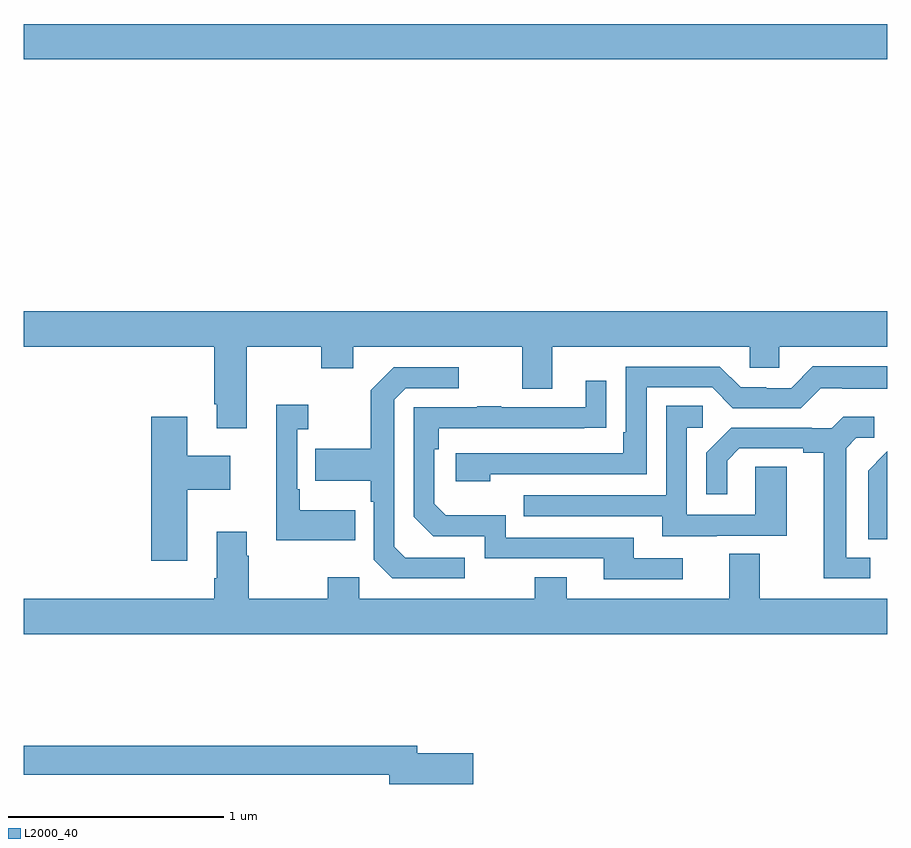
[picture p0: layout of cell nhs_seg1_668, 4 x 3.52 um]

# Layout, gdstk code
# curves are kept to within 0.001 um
import gdstk
lib = gdstk.Library(unit=1e-6, precision=1e-09)
def R(c, l, rs):  # rectangles x0, y0, x1, y1
    for r in rs: c.add(gdstk.rectangle(r[:2], r[2:], *l))
def P(c, l, *ps):  # polygons
    for p in ps: c.add(gdstk.Polygon(p, *l))
L2000_40 = (2000, 40)

nhs_seg1_668 = lib.new_cell('nhs_seg1_668')
R(nhs_seg1_668, L2000_40, [(147,547.736,151,547.9)])
P(nhs_seg1_668, L2000_40, [(148.033,546.404),(148.378,546.404),(148.378,546.305),(148.525,546.305),(148.525,546.404),(149.309,546.404),(149.309,546.21),(149.449,546.21),(149.449,546.404),(150.363,546.404),(150.363,546.306),(150.501,546.306),(150.501,546.404),(151,546.404),(151,546.568),(147,546.568),(147,546.404),(147.881,546.404),(147.881,546.139),(147.893,546.139),(147.893,546.027),(148.033,546.027)],
  [(149.162,545.814),(149.886,545.814),(149.886,546.216),(150.189,546.216),(150.285,546.12),(150.6,546.12),(150.693,546.213),(150.793,546.213),(150.793,546.209),(151,546.209),(151,546.313),(150.655,546.313),(150.555,546.213),(150.44,546.213),(150.44,546.216),(150.321,546.216),(150.225,546.312),(149.79,546.312),(149.79,546.007),(149.777,546.007),(149.777,545.91),(149.001,545.91),(149.001,545.78),(149.162,545.78)],
  [(149.044,545.427),(148.767,545.427),(148.716,545.478),(148.716,546.159),(148.77,546.213),(149.014,546.213),(149.014,546.309),(148.713,546.309),(148.608,546.203),(148.608,545.931),(148.351,545.931),(148.351,545.783),(148.608,545.783),(148.608,545.687),(148.62,545.687),(148.62,545.418),(148.707,545.331),(149.044,545.331)],
  [(150.052,545.424),(149.827,545.424),(149.827,545.52),(149.232,545.52),(149.232,545.623),(148.955,545.623),(148.902,545.676),(148.902,545.93),(148.922,545.93),(148.922,546.027),(149.699,546.028),(149.699,546.247),(149.603,546.247),(149.603,546.123),(149.213,546.123),(149.213,546.128),(149.101,546.128),(149.101,546.123),(148.806,546.123),(148.806,545.616),(148.896,545.526),(149.136,545.526),(149.136,545.424),(149.687,545.424),(149.687,545.328),(150.052,545.328)],
  [(148.535,545.647),(148.279,545.647),(148.279,545.743),(148.266,545.743),(148.266,546.023),(148.318,546.023),(148.318,546.136),(148.169,546.136),(148.169,545.507),(148.535,545.507)],
  [(150.211,545.529),(150.535,545.529),(150.535,545.849),(150.39,545.849),(150.39,545.625),(150.072,545.625),(150.072,546.03),(150.145,546.03),(150.145,546.131),(149.976,546.131),(149.976,545.715),(149.317,545.715),(149.317,545.619),(149.957,545.619),(149.957,545.525),(150.211,545.525)],
  [(147.757,545.741),(147.955,545.741),(147.955,545.899),(147.757,545.899),(147.757,546.079),(147.59,546.079),(147.59,545.412),(147.757,545.412)],
  [(150.922,545.427),(150.811,545.427),(150.811,545.935),(150.858,545.982),(150.94,545.982),(150.94,546.079),(150.796,546.079),(150.744,546.027),(150.65,546.027),(150.65,546.03),(150.278,546.03),(150.162,545.914),(150.162,545.721),(150.259,545.721),(150.259,545.877),(150.316,545.934),(150.611,545.934),(150.611,545.912),(150.707,545.912),(150.707,545.331),(150.922,545.331)],
  [(151,545.92),(150.984,545.904),(150.985,545.903),(150.912,545.83),(150.912,545.512),(151,545.512)],
  [(151,545.236),(150.409,545.236),(150.409,545.444),(150.269,545.444),(150.269,545.236),(149.515,545.236),(149.515,545.335),(149.368,545.335),(149.368,545.236),(148.554,545.236),(148.554,545.335),(148.408,545.335),(148.408,545.236),(148.041,545.236),(148.041,545.435),(148.033,545.435),(148.033,545.548),(147.893,545.548),(147.893,545.332),(147.881,545.332),(147.881,545.236),(147,545.236),(147,545.072),(151,545.072)],
  [(149.083,544.52),(148.822,544.52),(148.822,544.556),(147,544.556),(147,544.42),(148.694,544.42),(148.694,544.378),(149.083,544.378)])

lib.write_gds('nhs_seg1_668.gds')
